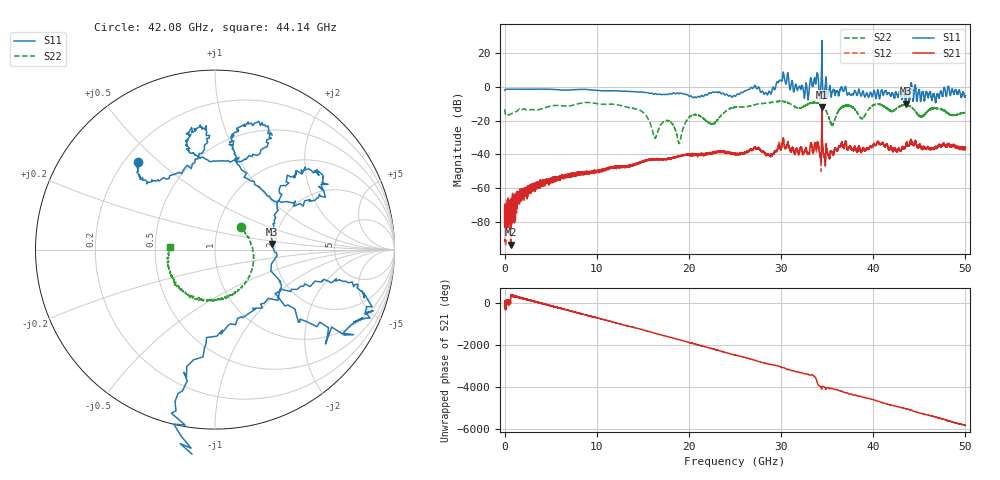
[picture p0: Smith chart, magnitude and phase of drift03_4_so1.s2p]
!Created with skrf (http://scikit-rf.org).
# Hz S RI R 50.0
!freq ReS11 ImS11 ReS21 ImS21 ReS12 ImS12 ReS22 ImS22
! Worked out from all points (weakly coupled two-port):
!   10000 points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, 5.3 MHz to 50 GHz, reference 50 ohm
!   highest |S21| = -12.09 dB at 34.43 GHz (marker M1); lowest = -93.4 dB at 665.3 MHz (marker M2)
!   lowest |S11| = -10.0 dB at 43.53 GHz (marker M3), VSWR 1.93, Z = 95.8 + j6.57 ohm
!   |S11| at or under -10 dB: nowhere
!   |S22| runs from -33.5 to -8.5 dB; largest |S21 - S12| = 0.073
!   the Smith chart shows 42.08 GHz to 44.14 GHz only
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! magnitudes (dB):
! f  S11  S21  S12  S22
! 5.3 MHz  -2.1  -76.0  -79.2  -13.3
! 665.3 MHz  -1.4  -93.4  -74.3  -16.1
! 2.99 GHz  -1.4  -61.5  -58.6  -13.4
! 8.34 GHz  -1.5  -51.3  -51.1  -9.5
! 14.51 GHz  -3.1  -45.2  -45.4  -13.5
! 16.67 GHz  -4.4  -42.4  -42.5  -25.7
! 17.82 GHz  -4.2  -42.4  -42.6  -20.2
! 18.96 GHz  -4.0  -41.0  -41.1  -33.5
! 20.27 GHz  -5.5  -40.0  -40.0  -17.1
! 22.57 GHz  -3.1  -39.0  -39.4  -22.1
! 25.01 GHz  -5.5  -40.1  -40.0  -12.1
! 28.72 GHz  -2.5  -40.3  -40.2  -9.3
! 30.14 GHz  4.3  -33.5  -34.0  -8.5
! 32.74 GHz  2.1  -36.7  -36.6  -10.7
! 33.34 GHz  2.5  -34.9  -34.9  -9.4
! 34.43 GHz  27.4  -12.1  -13.7  -11.0
! 35.55 GHz  -3.1  -38.9  -38.7  -22.1
! 36.97 GHz  0.2  -32.6  -33.1  -11.2
! 38.75 GHz  -4.8  -38.2  -38.2  -18.9
! 41.67 GHz  -3.5  -36.7  -36.9  -13.7
! 43.53 GHz  -10.0  -35.1  -35.1  -10.7
! 50 GHz  -5.4  -35.9  -36.3  -15.3
